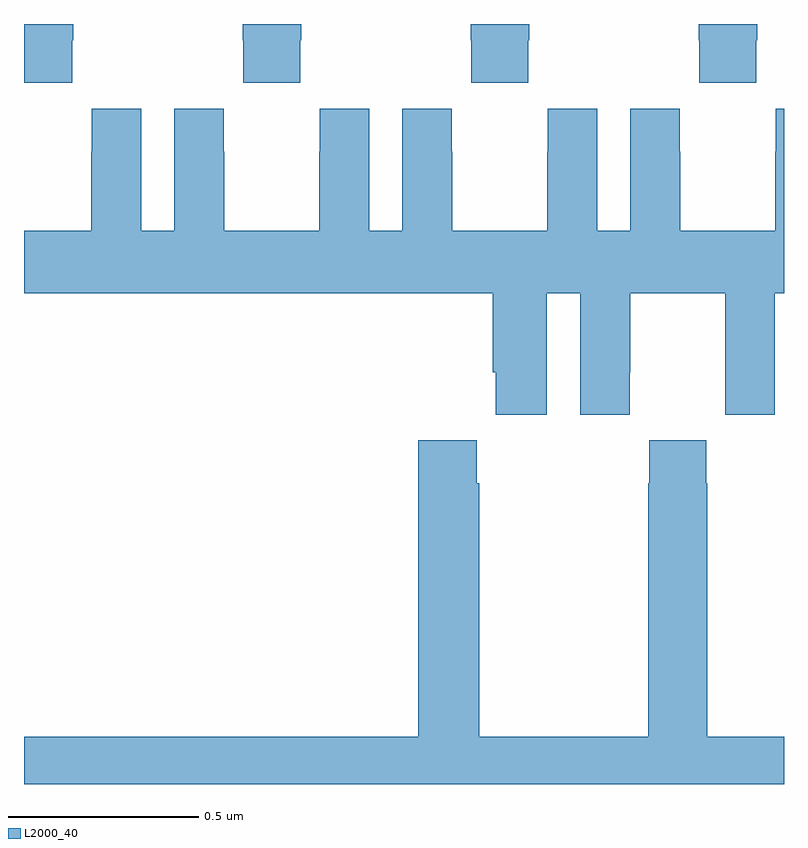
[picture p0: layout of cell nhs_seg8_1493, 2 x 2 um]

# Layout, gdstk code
import gdstk
lib = gdstk.Library(unit=1e-6, precision=1e-09)
def P(c, l, *ps):  # polygons
    for p in ps: c.add(gdstk.Polygon(p, *l))
L2000_40 = (2000, 40)

nhs_seg8_1493 = lib.new_cell('nhs_seg8_1493')
P(nhs_seg8_1493, L2000_40, [(131.127,1091.857),(131.13,1091.857),(131.13,1091.9),(131,1091.9),(131,1091.745),(131.127,1091.745)],
  [(131.727,1091.857),(131.73,1091.857),(131.73,1091.9),(131.575,1091.9),(131.575,1091.857),(131.577,1091.857),(131.577,1091.745),(131.727,1091.745)],
  [(132.327,1091.857),(132.33,1091.857),(132.33,1091.9),(132.175,1091.9),(132.175,1091.857),(132.177,1091.857),(132.177,1091.745),(132.327,1091.745)],
  [(132.927,1091.857),(132.93,1091.857),(132.93,1091.9),(132.775,1091.9),(132.775,1091.857),(132.777,1091.857),(132.777,1091.745),(132.927,1091.745)],
  [(132.233,1090.984),(132.242,1090.984),(132.242,1090.872),(132.376,1090.872),(132.376,1091.192),(132.464,1091.192),(132.464,1090.872),(132.594,1090.872),(132.594,1090.984),(132.595,1090.984),(132.595,1091.192),(132.845,1091.192),(132.845,1090.984),(132.846,1090.984),(132.846,1090.872),(132.976,1090.872),(132.976,1091.192),(133,1091.192),(133,1091.677),(132.978,1091.677),(132.978,1091.564),(132.977,1091.564),(132.977,1091.356),(132.727,1091.356),(132.727,1091.564),(132.726,1091.564),(132.726,1091.677),(132.596,1091.677),(132.596,1091.356),(132.508,1091.356),(132.508,1091.677),(132.378,1091.677),(132.378,1091.564),(132.377,1091.564),(132.377,1091.356),(132.127,1091.356),(132.127,1091.564),(132.126,1091.564),(132.126,1091.677),(131.996,1091.677),(131.996,1091.356),(131.908,1091.356),(131.908,1091.677),(131.778,1091.677),(131.778,1091.564),(131.777,1091.564),(131.777,1091.356),(131.527,1091.356),(131.527,1091.564),(131.526,1091.564),(131.526,1091.677),(131.396,1091.677),(131.396,1091.356),(131.308,1091.356),(131.308,1091.677),(131.178,1091.677),(131.178,1091.564),(131.177,1091.564),(131.177,1091.356),(131,1091.356),(131,1091.192),(132.233,1091.192)],
  [(133,1090.024),(132.798,1090.024),(132.798,1090.691),(132.795,1090.691),(132.795,1090.804),(132.645,1090.804),(132.645,1090.691),(132.643,1090.691),(132.643,1090.024),(132.198,1090.024),(132.198,1090.691),(132.191,1090.691),(132.191,1090.804),(132.038,1090.804),(132.038,1090.024),(131,1090.024),(131,1089.9),(133,1089.9)])

lib.write_gds('nhs_seg8_1493.gds')
